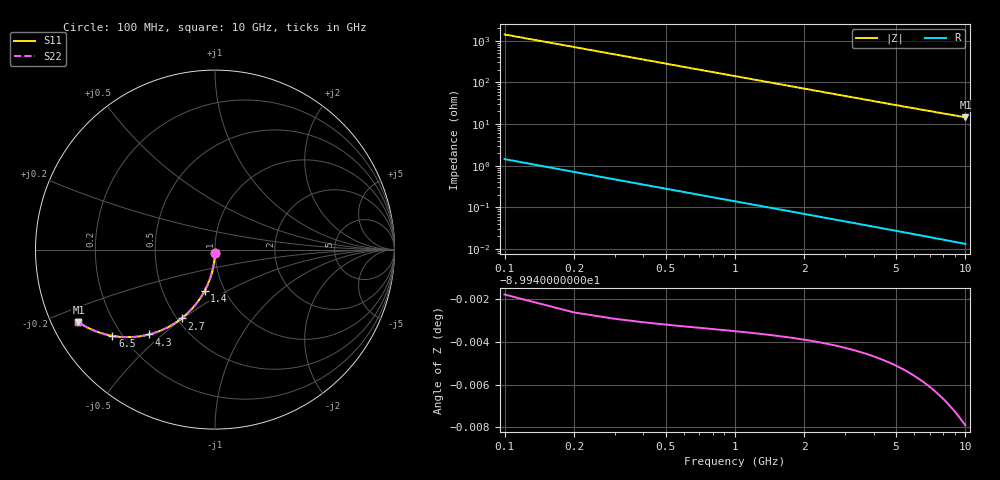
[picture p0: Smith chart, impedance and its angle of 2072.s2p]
# Hz S RI R 50.00
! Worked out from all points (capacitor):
!   100 points, 100 MHz to 10 GHz, reference 50 ohm
!   read as one part in shunt: C = 1.13 pF near 100 MHz
!   lowest |Z| = 14.5 ohm at 10 GHz (marker M1)
!   S11 on the Smith chart (normalised r, x): 100 MHz: 1.00, -0.03; 1.4 GHz: 0.80, -0.39; 2.7 GHz: 0.53, -0.49; 4.3 GHz: 0.31, -0.45; 6.5 GHz: 0.16, -0.36; 10 GHz: 0.08, -0.25
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1e8  -0.000291 -0.0175  0.9996 -0.0179  0.9996 -0.0179  -0.000291 -0.0175
2e8  -0.00125 -0.035  0.9987 -0.0358  0.9987 -0.0358  -0.00125 -0.035
3e8  -0.00283 -0.0524  0.9971 -0.0536  0.9971 -0.0536  -0.00283 -0.0524
4e8  -0.00502 -0.0697  0.9949 -0.0713  0.9949 -0.0713  -0.00502 -0.0697
5e8  -0.00783 -0.0869  0.9921 -0.0889  0.9921 -0.0889  -0.00783 -0.0869
6e8  -0.0112 -0.1039  0.9887 -0.1063  0.9887 -0.1063  -0.0112 -0.1039
7e8  -0.0152 -0.1207  0.9847 -0.1235  0.9847 -0.1235  -0.0152 -0.1207
9e8  -0.0249 -0.1536  0.975 -0.1573  0.975 -0.1573  -0.0249 -0.1536
1.1e9  -0.0367 -0.1855  0.9632 -0.19  0.9632 -0.19  -0.0367 -0.1855
1.4e9  -0.0581 -0.2307  0.9418 -0.2365  0.9418 -0.2365  -0.0581 -0.2307
1.8e9  -0.0925 -0.2857  0.9074 -0.2931  0.9074 -0.2931  -0.0925 -0.2857
2.2e9  -0.1322 -0.3337  0.8677 -0.3428  0.8677 -0.3428  -0.1322 -0.3337
2.7e9  -0.1866 -0.3836  0.8133 -0.3947  0.8133 -0.3947  -0.1866 -0.3836
3.4e9  -0.2667 -0.4348  0.7331 -0.4488  0.7331 -0.4488  -0.2667 -0.4348
4.3e9  -0.368 -0.4729  0.6318 -0.4907  0.6318 -0.4907  -0.368 -0.4729
5.1e9  -0.4505 -0.4864  0.5492 -0.5077  0.5492 -0.5077  -0.4505 -0.4864
5.8e9  -0.5149 -0.4871  0.4847 -0.5114  0.4847 -0.5114  -0.5149 -0.4871
6.5e9  -0.5717 -0.4806  0.4278 -0.5079  0.4278 -0.5079  -0.5717 -0.4806
6.7e9  -0.5866 -0.4778  0.413 -0.506  0.413 -0.506  -0.5866 -0.4778
7.5e9  -0.6404 -0.4634  0.359 -0.4951  0.359 -0.4951  -0.6404 -0.4634
8.4e9  -0.6912 -0.4435  0.308 -0.4792  0.308 -0.4792  -0.6912 -0.4435
1e10  -0.7612 -0.4041  0.2378 -0.447  0.2378 -0.447  -0.7612 -0.4041
